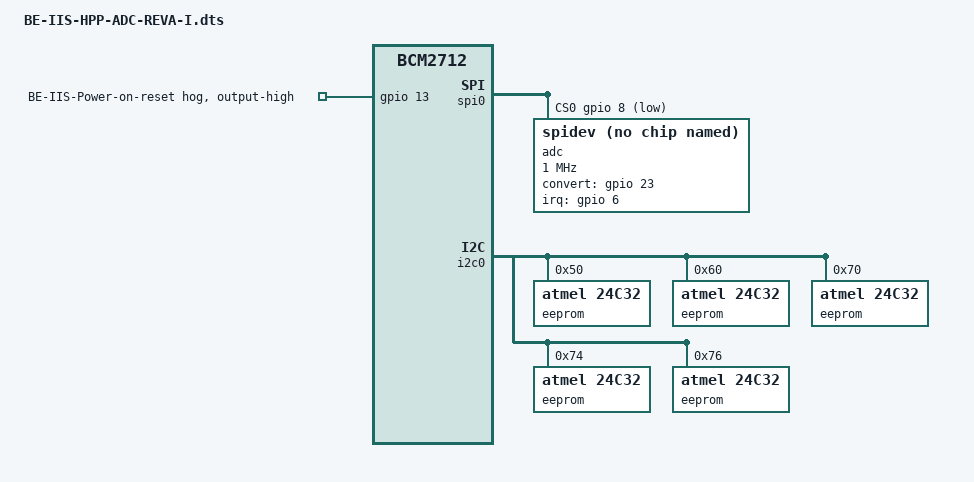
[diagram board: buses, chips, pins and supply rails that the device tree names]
// SPDX-License-Identifier: GPL-2.0-or-later
// BE-IIS-HPP-ADC, HAT++ instance I
// SPI0 CE0: BCM GPIO8; IRQ/BUSY: BCM GPIO6
// ADC development access via spidev; shared CONVERT = BCM GPIO23.
// Requires SPI0 enabled. GPIO numbers are BCM, not physical header pin numbers.
/dts-v1/;
/plugin/;

#include <dt-bindings/interrupt-controller/irq.h>
#include <dt-bindings/gpio/gpio.h>

/ {
    compatible = "brcm,bcm2835", "brcm,bcm2711", "brcm,bcm2712";

    /*
     * Shared BE-IIS ADC CONVST line: BCM GPIO23 (physical pin 16).
     * Instance I defines this shared pin, even when Instance I is not
     * an ADC HAT. Instances II and III must not define it again.
     * Pinmux only: no GPIO hog, so userspace or a future controller
     * can request the line. The consumer must set the initial level.
     * Note: this state must be selected by a pinctrl consumer to take effect.
     */
    fragment@11 {
        target = <&gpio>;
        __overlay__ {
            beiis_convert_pin: beiis-convert-pin {
                brcm,pins = <23>;
                brcm,function = <1>; /* GPIO output */
                brcm,pull = <0>;     /* no pull */
            };
        };
    };


    fragment@0 {
        target = <&spi0>;
        __overlay__ {
            #address-cells = <1>;
            #size-cells = <0>;
            status = "okay";
            num-cs = <3>;
            cs-gpios = <&gpio 8 GPIO_ACTIVE_LOW>,
                       <&gpio 7 GPIO_ACTIVE_LOW>,
                       <&gpio 16 GPIO_ACTIVE_LOW>;

            adc@0 {
                compatible = "rohm,dh2228fv";
                reg = <0>;
                spi-max-frequency = <1000000>;
                pinctrl-names = "default";
                pinctrl-0 = <&beiis_adc_i_irq>;
                interrupt-parent = <&gpio>;
                interrupts = <6 IRQ_TYPE_EDGE_RISING>;
                /* Temporary spidev binding; replace with the real ADC compatible
                 * and driver once implemented. Do not use "spidev" as compatible.
                 * This legacy spidev alias is strictly a development workaround.
                 */
                /* BUSY is wired to the instance-specific interrupt pin. */
                /* CONVERT is common to all ADC HATs: BCM GPIO23 (header pin 16).
                 * It is intentionally NOT GPIO-hogged: userspace or a future
                 * driver must control it once globally, not once per instance.
                 */
                convert-gpios = <&gpio 23 0>;
                status = "okay";
            };
        };
    };

    fragment@1 {
        target = <&spidev0>;
        __overlay__ { status = "disabled"; };
    };
    fragment@2 {
        target = <&gpio>;
        __overlay__ {
            beiis_adc_i_irq: beiis-adc-i-irq {
                brcm,pins = <6>;
                brcm,function = <0>; /* input */
                brcm,pull = <2>; /* pull-up */
            };
            /* Pinmux only. No GPIO hog and no output level set here.
             * Userspace must request this shared GPIO exactly once.
             */
            beiis_adc_convert_i: beiis-adc-convert-i {
                brcm,pins = <23>;
                brcm,function = <0>;
                brcm,pull = <0>;
            };
        };
    };
    /* Keep spare HAT++ chip selects and identification resources available. */
    fragment@3 { target = <&spidev1>; __overlay__ { status = "disabled"; }; };
    fragment@9 {
        target = <&i2c0>;
        __overlay__ {
            #address-cells = <1>;
            #size-cells = <0>;
            eeprom@50 { compatible = "atmel,24c32"; reg = <0x50>; status = "okay"; };
            eeprom@60 { compatible = "atmel,24c32"; reg = <0x60>; status = "okay"; };
            eeprom@70 { compatible = "atmel,24c32"; reg = <0x70>; status = "okay"; };
            eeprom@74 { compatible = "atmel,24c32"; reg = <0x74>; status = "okay"; };
            eeprom@76 { compatible = "atmel,24c32"; reg = <0x76>; status = "okay"; };
        };
    };
    fragment@10 {
        target = <&gpio>;
        __overlay__ {
            be_iis_porst: be-iis-porst {
                gpio-hog;
                gpios = <13 GPIO_ACTIVE_HIGH>;
                output-high;
                line-name = "BE-IIS-Power-on-reset";
            };
        };
    };
};
